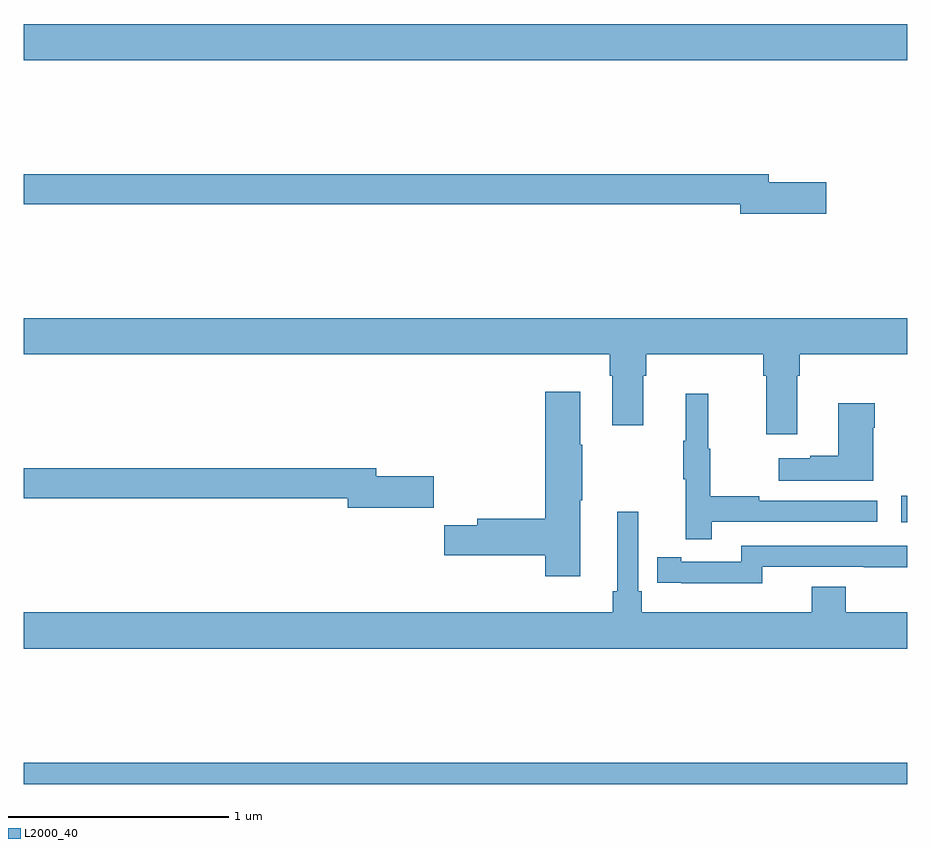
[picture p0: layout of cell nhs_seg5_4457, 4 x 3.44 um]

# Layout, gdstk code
import gdstk
lib = gdstk.Library(unit=1e-6, precision=1e-09)
def R(c, l, rs):  # rectangles x0, y0, x1, y1
    for r in rs: c.add(gdstk.rectangle(r[:2], r[2:], *l))
def P(c, l, *ps):  # polygons
    for p in ps: c.add(gdstk.Polygon(p, *l))
L2000_40 = (2000, 40)

nhs_seg5_4457 = lib.new_cell('nhs_seg5_4457')
R(nhs_seg5_4457, L2000_40, [(373,870.799,377,870.896), (376.974,871.983,377,872.103), (373,874.076,377,874.24)])
P(nhs_seg5_4457, L2000_40, [(376.633,873.524),(376.372,873.524),(376.372,873.56),(373,873.56),(373,873.424),(376.244,873.424),(376.244,873.382),(376.633,873.382)],
  [(376.501,872.648),(376.514,872.648),(376.514,872.744),(377,872.744),(377,872.908),(373,872.908),(373,872.744),(375.653,872.744),(375.653,872.648),(375.665,872.648),(375.665,872.424),(375.805,872.424),(375.805,872.648),(375.818,872.648),(375.818,872.744),(376.349,872.744),(376.349,872.648),(376.361,872.648),(376.361,872.382),(376.501,872.382)],
  [(375.52,872.083),(375.528,872.083),(375.528,872.336),(375.52,872.336),(375.52,872.575),(375.362,872.575),(375.362,872),(375.053,872),(375.053,871.97),(374.904,871.97),(374.904,871.835),(375.362,871.835),(375.362,871.74),(375.52,871.74)],
  [(376.115,871.986),(376.864,871.986),(376.864,872.082),(376.331,872.082),(376.331,872.102),(376.108,872.102),(376.108,872.316),(376.1,872.316),(376.1,872.566),(375.998,872.566),(375.998,872.353),(375.987,872.353),(375.987,872.179),(375.998,872.179),(375.998,871.908),(376.115,871.908)],
  [(376.846,872.411),(376.854,872.411),(376.854,872.524),(376.688,872.524),(376.688,872.285),(376.562,872.285),(376.562,872.275),(376.419,872.275),(376.419,872.171),(376.846,872.171)],
  [(374.857,872.192),(374.596,872.192),(374.596,872.228),(373,872.228),(373,872.092),(374.468,872.092),(374.468,872.05),(374.857,872.05)],
  [(377,871.576),(376.721,871.576),(376.721,871.693),(376.568,871.693),(376.568,871.576),(375.797,871.576),(375.797,871.672),(375.783,871.672),(375.783,872.032),(375.686,872.032),(375.686,871.672),(375.667,871.672),(375.667,871.576),(373,871.576),(373,871.412),(377,871.412)],
  [(376.344,871.782),(376.804,871.782),(376.804,871.781),(377,871.781),(377,871.878),(376.248,871.878),(376.248,871.806),(375.976,871.806),(375.976,871.826),(375.868,871.826),(375.868,871.71),(375.976,871.71),(375.976,871.709),(376.344,871.709)])

lib.write_gds('nhs_seg5_4457.gds')
